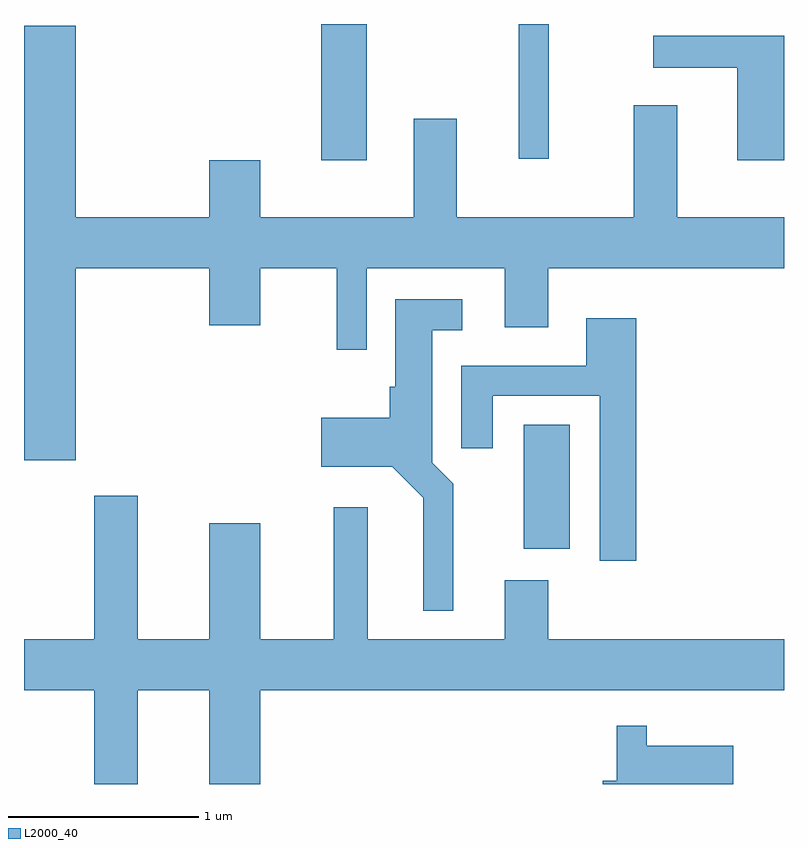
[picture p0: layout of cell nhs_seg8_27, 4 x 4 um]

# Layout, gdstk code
import gdstk
lib = gdstk.Library(unit=1e-6, precision=1e-09)
def R(c, l, rs):  # rectangles x0, y0, x1, y1
    for r in rs: c.add(gdstk.rectangle(r[:2], r[2:], *l))
def P(c, l, *ps):  # polygons
    for p in ps: c.add(gdstk.Polygon(p, *l))
L2000_40 = (2000, 40)

nhs_seg8_27 = lib.new_cell('nhs_seg8_27')
R(nhs_seg8_27, L2000_40, [(188.241,1861.581,188.484,1862.234), (187.176,1863.626,187.414,1864.342), (188.216,1863.633,188.374,1864.342)])
P(nhs_seg8_27, L2000_40, [(185.884,1863.056),(186.586,1863.056),(186.586,1862.756),(186.854,1862.756),(186.854,1863.056),(187.256,1863.056),(187.256,1862.628),(187.414,1862.628),(187.414,1863.056),(188.141,1863.056),(188.141,1862.746),(188.369,1862.746),(188.369,1863.056),(189.611,1863.056),(189.611,1863.324),(189.049,1863.324),(189.049,1863.914),(188.821,1863.914),(188.821,1863.324),(187.889,1863.324),(187.889,1863.844),(187.661,1863.844),(187.661,1863.324),(186.854,1863.324),(186.854,1863.624),(186.586,1863.624),(186.586,1863.324),(185.884,1863.324),(185.884,1864.334),(185.611,1864.334),(185.611,1862.046),(185.884,1862.046)],
  [(189.611,1864.279),(188.923,1864.279),(188.923,1864.111),(189.366,1864.111),(189.366,1863.626),(189.611,1863.626)],
  [(187.869,1861.922),(187.759,1862.032),(187.759,1862.731),(187.918,1862.731),(187.918,1862.894),(187.566,1862.894),(187.566,1862.434),(187.536,1862.434),(187.536,1862.269),(187.176,1862.269),(187.176,1862.011),(187.549,1862.011),(187.711,1861.849),(187.711,1861.253),(187.869,1861.253)],
  [(188.834,1862.794),(188.571,1862.794),(188.571,1862.544),(187.911,1862.544),(187.911,1862.108),(188.079,1862.108),(188.079,1862.386),(188.641,1862.386),(188.641,1861.516),(188.834,1861.516)],
  [(186.209,1860.836),(186.586,1860.836),(186.586,1860.342),(186.854,1860.342),(186.854,1860.836),(189.611,1860.836),(189.611,1861.104),(188.369,1861.104),(188.369,1861.414),(188.141,1861.414),(188.141,1861.104),(187.419,1861.104),(187.419,1861.799),(187.241,1861.799),(187.241,1861.104),(186.854,1861.104),(186.854,1861.714),(186.586,1861.714),(186.586,1861.104),(186.209,1861.104),(186.209,1861.859),(185.981,1861.859),(185.981,1861.104),(185.611,1861.104),(185.611,1860.836),(185.981,1860.836),(185.981,1860.342),(186.209,1860.342)],
  [(189.344,1860.544),(188.889,1860.544),(188.889,1860.648),(188.731,1860.648),(188.731,1860.359),(188.656,1860.359),(188.656,1860.342),(189.344,1860.342)])

lib.write_gds('nhs_seg8_27.gds')
